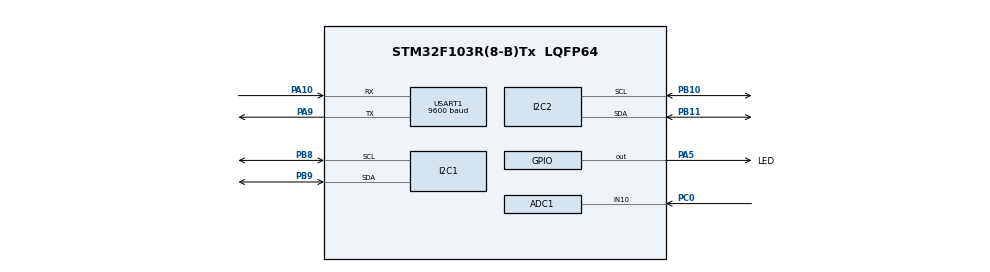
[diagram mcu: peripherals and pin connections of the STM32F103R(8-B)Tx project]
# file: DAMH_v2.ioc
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ADC1.Channel-0\#ChannelRegularConversion=ADC_CHANNEL_10
ADC1.NbrOfConversionFlag=1
ADC1.Rank-0\#ChannelRegularConversion=1
ADC1.SamplingTime-0\#ChannelRegularConversion=ADC_SAMPLETIME_1CYCLE_5
ADC1.master=1
Mcu.Family=STM32F1
Mcu.Name=STM32F103R(8-B)Tx
Mcu.Package=LQFP64
NVIC.PriorityGroup=NVIC_PRIORITYGROUP_4
NVIC.TIM2_IRQn=true\:0\:0\:false\:false\:true\:true\:true
NVIC.USART1_IRQn=true\:1\:0\:true\:false\:true\:true\:true
PA10.Mode=Asynchronous
PA10.Signal=USART1_RX
PA13.Mode=Serial_Wire
PA13.Signal=SYS_JTMS-SWDIO
PA14.Mode=Serial_Wire
PA14.Signal=SYS_JTCK-SWCLK
PA5.GPIO_Label=LED
PA5.Signal=GPIO_Output
PA9.Mode=Asynchronous
PA9.Signal=USART1_TX
PB10.Mode=I2C
PB10.Signal=I2C2_SCL
PB11.Mode=I2C
PB11.Signal=I2C2_SDA
PB8.Mode=I2C
PB8.Signal=I2C1_SCL
PB9.Mode=I2C
PB9.Signal=I2C1_SDA
PC0.Signal=ADCx_IN10
ProjectManager.HeapSize=0x200
ProjectManager.StackSize=0x400
ProjectManager.TargetToolchain=STM32CubeIDE
RCC.APB1Freq_Value=8000000
RCC.APB2Freq_Value=8000000
SH.ADCx_IN10.0=ADC1_IN10,IN10
TIM2.Period=9
TIM2.Prescaler=799
USART1.BaudRate=9600
USART1.VirtualMode=VM_ASYNC
VP_TIM2_VS_ClockSourceINT.Mode=Internal
board=custom

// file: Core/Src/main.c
/* USER CODE BEGIN Header */
/**
  ******************************************************************************
  * @file           : main.c
  * @brief          : Main program body
  ******************************************************************************
  * @attention
  *
  * <h2><center>&copy; Copyright (c) 2024 STMicroelectronics.
  * All rights reserved.</center></h2>
  *
  * This software component is licensed by ST under BSD 3-Clause license,
  * the "License"; You may not use this file except in compliance with the
  * License. You may obtain a copy of the License at:
  *                        opensource.org/licenses/BSD-3-Clause
  *
  ******************************************************************************
  */
/* USER CODE END Header */
#include "main.h"

/* USER CODE BEGIN Includes */
#include "i2c-lcd.h"
#include "stdio.h"
#include "string.h"
#include "dht20.h"
/* USER CODE END Includes */

ADC_HandleTypeDef hadc1;

I2C_HandleTypeDef hi2c1;
I2C_HandleTypeDef hi2c2;

TIM_HandleTypeDef htim2;

UART_HandleTypeDef huart1;

/* USER CODE BEGIN PV */
DHT20_Data sensor_data;

// Bộ đệm để lưu chuỗi hiển thị

char buffer1[16];
char buffer2[16];
char sendBuffer[40];
uint8_t dulieu[] =  "heloo alo";
/* USER CODE END PV */

void SystemClock_Config(void);
static void MX_GPIO_Init(void);
static void MX_I2C1_Init(void);
static void MX_I2C2_Init(void);
static void MX_USART1_UART_Init(void);
static void MX_ADC1_Init(void);
static void MX_TIM2_Init(void);

int main(void)
{

  /* MCU Configuration--------------------------------------------------------*/

  /* Reset of all peripherals, Initializes the Flash interface and the Systick. */
  HAL_Init();

  /* Configure the system clock */
  SystemClock_Config();

  /* Initialize all configured peripherals */
  MX_GPIO_Init();
  MX_I2C1_Init();
  MX_I2C2_Init();
  MX_USART1_UART_Init();
  MX_ADC1_Init();
  MX_TIM2_Init();
  /* USER CODE BEGIN 2 */
  lcd_init();
  HAL_Delay(1000);

  // Khởi tạo cảm biến
//  if (DHT20_Init(&hi2c1) == HAL_OK) {
//      printf("DHT20 initialized successfully.\n");
//  } else {
//      printf("DHT20 initialization failed.\n");
//  }

//  if (DHT20_Init(&hi2c1) != HAL_OK) {
//      lcd_send_string("DHT20 Init Err");
  /* USER CODE END 2 */

  /* Infinite loop */
  /* USER CODE BEGIN WHILE */

  // Biến lưu trữ giá trị cũ
  float last_temperature = -999.0; // Giá trị mặc định ngoài phạm vi đo
  float last_humidity = -999.0;
  while (1)
  {
//	  lcd_goto_XY(0, 0);
//	  lcd_send_string("HCMUT");
//	  lcd_goto_XY(1, 8);
//	  lcd_send_string("2024");
//	  HAL_Delay(1500);
//	  lcd_clear_display();
//	  HAL_Delay(1500);
//	  HAL_GPIO_TogglePin(LED_GPIO_Port, LED_Pin);

//      if (DHT20_Read(&hi2c1, &sensor_data) == HAL_OK) {
//          printf("Temperature: %.2f°C, Humidity: %.2f%%\n", sensor_data.temperature, sensor_data.humidity);
//      } else {
//          printf("Failed to read data from DHT20.\n");
//      }
//      HAL_Delay(1000);

//        if (DHT20_Read(&hi2c1, &sensor_data) == HAL_OK) {
////            // Xóa màn hình LCD
////            lcd_clear_display();
////
////            // Hiển thị nhiệt độ
//            sprintf(buffer1, "Temp: %.1f C", sensor_data.temperature);
////            lcd_goto_XY(1, 0); // Dòng 1, cột 0
////            lcd_send_string("alo1");
////
////            // Hiển thị độ ẩm
//            sprintf(buffer2, "Humi: %.1f %%", sensor_data.humidity);
////            lcd_goto_XY(0, 0); // Dòng 2, cột 0
////            lcd_send_string("alo2");
////            HAL_Delay(1000);
////        	HAL_GPIO_TogglePin(LED_GPIO_Port, LED_Pin);
//        		  lcd_goto_XY(1, 0);
//        		  lcd_send_string(buffer1);
//        		  lcd_goto_XY(0, 0);
//        		  lcd_send_string(buffer2);
//
////        		  HAL_UART_Transmit(&huart1, dulieu, sizeof(dulieu), 100);
//        		  HAL_UART_Transmit(&huart1, (uint8_t *)buffer1, strlen(buffer1), 1000);
//        		  HAL_Delay(20);
//        		  HAL_UART_Transmit(&huart1, (uint8_t *)buffer2, strlen(buffer2), 1000);
//
//        		  HAL_Delay(5000);
//        		  lcd_clear_display();
////        		  HAL_Delay(1500);
//        		  HAL_GPIO_TogglePin(LED_GPIO_Port, LED_Pin);
//        } else {
//            // Hiển thị lỗi nếu không đ�?c được dữ liệu
//            lcd_clear_display();
//            lcd_send_string("Read Err!");
//        }

    if (DHT20_Read(&hi2c1, &sensor_data) == HAL_OK) {
        // �?ịnh dạng dữ liệu gửi

//        sprintf(buffer1, "TEMP:%.1f °C", sensor_data.temperature);
    	sprintf(buffer1, "TEMP:%.1f", sensor_data.temperature);

        sprintf(buffer2, "HUMI:%.1f", sensor_data.humidity);
        sprintf(sendBuffer, "%s;%s\n", buffer1, buffer2);

        // Gửi qua UART
        HAL_UART_Transmit(&huart1, (uint8_t *)sendBuffer, strlen(sendBuffer), 1000);

//        // Hiển thị lên LCD
//        lcd_goto_XY(1, 0); // Vị trí dòng 1
//        lcd_send_string(buffer1); // Hiển thị nội dung buffer1
//        lcd_send_string(" \xDF""C"); // Thêm ký tự độ C (ASCII 223)
//
//        lcd_goto_XY(0, 0); // Vị trí dòng 2
//        lcd_send_string(buffer2); // Hiển thị nội dung buffer2
//        lcd_send_string(" %"); // Thêm ký tự %
//
//        // Delay và xử lý LED
//        HAL_Delay(5000);
//        lcd_clear_display();
//        HAL_GPIO_TogglePin(LED_GPIO_Port, LED_Pin);
        // Cập nhật LCD nếu nhiệt độ thay đổi
            if (sensor_data.temperature != last_temperature) {
                lcd_goto_XY(1, 0); // Vị trí dòng 1
                lcd_send_string("TEMP:"); // Ghi nhãn
                char temp_display[8];
                sprintf(temp_display, "%.1f \xDF""C", sensor_data.temperature); // Thêm đơn vị độ C
                lcd_send_string(temp_display); // Hiển thị nhiệt độ
                last_temperature = sensor_data.temperature; // Lưu giá trị cũ
            }

            // Cập nhật LCD nếu độ ẩm thay đổi
            if (sensor_data.humidity != last_humidity) {
                lcd_goto_XY(0, 0); // Vị trí dòng 2
                lcd_send_string("HUMI:"); // Ghi nhãn
                char hum_display[8];
                sprintf(hum_display, "%.1f %%", sensor_data.humidity); // Thêm đơn vị %
                lcd_send_string(hum_display); // Hiển thị độ ẩm
                last_humidity = sensor_data.humidity; // Lưu giá trị cũ
            }

            // Delay và xử lý LED
               HAL_Delay(1000);
               HAL_GPIO_TogglePin(LED_GPIO_Port, LED_Pin);
    } else {
        lcd_clear_display();
        HAL_Delay(1000);
        lcd_goto_XY(0, 0);
        lcd_send_string("Read Err!");
    }

    /* USER CODE END WHILE */

  }
}

void SystemClock_Config(void)
{
  RCC_OscInitTypeDef RCC_OscInitStruct = {0};
  RCC_ClkInitTypeDef RCC_ClkInitStruct = {0};
  RCC_PeriphCLKInitTypeDef PeriphClkInit = {0};

  /** Initializes the RCC Oscillators according to the specified parameters
  * in the RCC_OscInitTypeDef structure.
  */
  RCC_OscInitStruct.OscillatorType = RCC_OSCILLATORTYPE_HSI;
  RCC_OscInitStruct.HSIState = RCC_HSI_ON;
  RCC_OscInitStruct.HSICalibrationValue = RCC_HSICALIBRATION_DEFAULT;
  RCC_OscInitStruct.PLL.PLLState = RCC_PLL_NONE;
  if (HAL_RCC_OscConfig(&RCC_OscInitStruct) != HAL_OK)
  {
    Error_Handler();
  }
  /** Initializes the CPU, AHB and APB buses clocks
  */
  RCC_ClkInitStruct.ClockType = RCC_CLOCKTYPE_HCLK|RCC_CLOCKTYPE_SYSCLK
                              |RCC_CLOCKTYPE_PCLK1|RCC_CLOCKTYPE_PCLK2;
  RCC_ClkInitStruct.SYSCLKSource = RCC_SYSCLKSOURCE_HSI;
  RCC_ClkInitStruct.AHBCLKDivider = RCC_SYSCLK_DIV1;
  RCC_ClkInitStruct.APB1CLKDivider = RCC_HCLK_DIV1;
  RCC_ClkInitStruct.APB2CLKDivider = RCC_HCLK_DIV1;

  if (HAL_RCC_ClockConfig(&RCC_ClkInitStruct, FLASH_LATENCY_0) != HAL_OK)
  {
    Error_Handler();
  }
  PeriphClkInit.PeriphClockSelection = RCC_PERIPHCLK_ADC;
  PeriphClkInit.AdcClockSelection = RCC_ADCPCLK2_DIV2;
  if (HAL_RCCEx_PeriphCLKConfig(&PeriphClkInit) != HAL_OK)
  {
    Error_Handler();
  }
}

static void MX_ADC1_Init(void)
{

  ADC_ChannelConfTypeDef sConfig = {0};

  /** Common config
  */
  hadc1.Instance = ADC1;
  hadc1.Init.ScanConvMode = ADC_SCAN_DISABLE;
  hadc1.Init.ContinuousConvMode = DISABLE;
  hadc1.Init.DiscontinuousConvMode = DISABLE;
  hadc1.Init.ExternalTrigConv = ADC_SOFTWARE_START;
  hadc1.Init.DataAlign = ADC_DATAALIGN_RIGHT;
  hadc1.Init.NbrOfConversion = 1;
  if (HAL_ADC_Init(&hadc1) != HAL_OK)
  {
    Error_Handler();
  }
  /** Configure Regular Channel
  */
  sConfig.Channel = ADC_CHANNEL_10;
  sConfig.Rank = ADC_REGULAR_RANK_1;
  sConfig.SamplingTime = ADC_SAMPLETIME_1CYCLE_5;
  if (HAL_ADC_ConfigChannel(&hadc1, &sConfig) != HAL_OK)
  {
    Error_Handler();
  }

}

static void MX_I2C1_Init(void)
{

  hi2c1.Instance = I2C1;
  hi2c1.Init.ClockSpeed = 100000;
  hi2c1.Init.DutyCycle = I2C_DUTYCYCLE_2;
  hi2c1.Init.OwnAddress1 = 0;
  hi2c1.Init.AddressingMode = I2C_ADDRESSINGMODE_7BIT;
  hi2c1.Init.DualAddressMode = I2C_DUALADDRESS_DISABLE;
  hi2c1.Init.OwnAddress2 = 0;
  hi2c1.Init.GeneralCallMode = I2C_GENERALCALL_DISABLE;
  hi2c1.Init.NoStretchMode = I2C_NOSTRETCH_DISABLE;
  if (HAL_I2C_Init(&hi2c1) != HAL_OK)
  {
    Error_Handler();
  }

}

static void MX_I2C2_Init(void)
{

  hi2c2.Instance = I2C2;
  hi2c2.Init.ClockSpeed = 100000;
  hi2c2.Init.DutyCycle = I2C_DUTYCYCLE_2;
  hi2c2.Init.OwnAddress1 = 0;
  hi2c2.Init.AddressingMode = I2C_ADDRESSINGMODE_7BIT;
  hi2c2.Init.DualAddressMode = I2C_DUALADDRESS_DISABLE;
  hi2c2.Init.OwnAddress2 = 0;
  hi2c2.Init.GeneralCallMode = I2C_GENERALCALL_DISABLE;
  hi2c2.Init.NoStretchMode = I2C_NOSTRETCH_DISABLE;
  if (HAL_I2C_Init(&hi2c2) != HAL_OK)
  {
    Error_Handler();
  }

}

static void MX_TIM2_Init(void)
{

  TIM_ClockConfigTypeDef sClockSourceConfig = {0};
  TIM_MasterConfigTypeDef sMasterConfig = {0};

  htim2.Instance = TIM2;
  htim2.Init.Prescaler = 799;
  htim2.Init.CounterMode = TIM_COUNTERMODE_UP;
  htim2.Init.Period = 9;
  htim2.Init.ClockDivision = TIM_CLOCKDIVISION_DIV1;
  htim2.Init.AutoReloadPreload = TIM_AUTORELOAD_PRELOAD_DISABLE;
  if (HAL_TIM_Base_Init(&htim2) != HAL_OK)
  {
    Error_Handler();
  }
  sClockSourceConfig.ClockSource = TIM_CLOCKSOURCE_INTERNAL;
  if (HAL_TIM_ConfigClockSource(&htim2, &sClockSourceConfig) != HAL_OK)
  {
    Error_Handler();
  }
  sMasterConfig.MasterOutputTrigger = TIM_TRGO_RESET;
  sMasterConfig.MasterSlaveMode = TIM_MASTERSLAVEMODE_DISABLE;
  if (HAL_TIMEx_MasterConfigSynchronization(&htim2, &sMasterConfig) != HAL_OK)
  {
    Error_Handler();
  }

}

static void MX_USART1_UART_Init(void)
{

  huart1.Instance = USART1;
  huart1.Init.BaudRate = 9600;
  huart1.Init.WordLength = UART_WORDLENGTH_8B;
  huart1.Init.StopBits = UART_STOPBITS_1;
  huart1.Init.Parity = UART_PARITY_NONE;
  huart1.Init.Mode = UART_MODE_TX_RX;
  huart1.Init.HwFlowCtl = UART_HWCONTROL_NONE;
  huart1.Init.OverSampling = UART_OVERSAMPLING_16;
  if (HAL_UART_Init(&huart1) != HAL_OK)
  {
    Error_Handler();
  }

}

static void MX_GPIO_Init(void)
{
  GPIO_InitTypeDef GPIO_InitStruct = {0};

  /* GPIO Ports Clock Enable */
  __HAL_RCC_GPIOC_CLK_ENABLE();
  __HAL_RCC_GPIOA_CLK_ENABLE();
  __HAL_RCC_GPIOB_CLK_ENABLE();

  /*Configure GPIO pin Output Level */
  HAL_GPIO_WritePin(LED_GPIO_Port, LED_Pin, GPIO_PIN_RESET);

  /*Configure GPIO pin : LED_Pin */
  GPIO_InitStruct.Pin = LED_Pin;
  GPIO_InitStruct.Mode = GPIO_MODE_OUTPUT_PP;
  GPIO_InitStruct.Pull = GPIO_NOPULL;
  GPIO_InitStruct.Speed = GPIO_SPEED_FREQ_LOW;
  HAL_GPIO_Init(LED_GPIO_Port, &GPIO_InitStruct);

}

void Error_Handler(void)
{
  __disable_irq();
  while (1)
  {
  }
}

/************************ (C) COPYRIGHT STMicroelectronics *****END OF FILE****/
